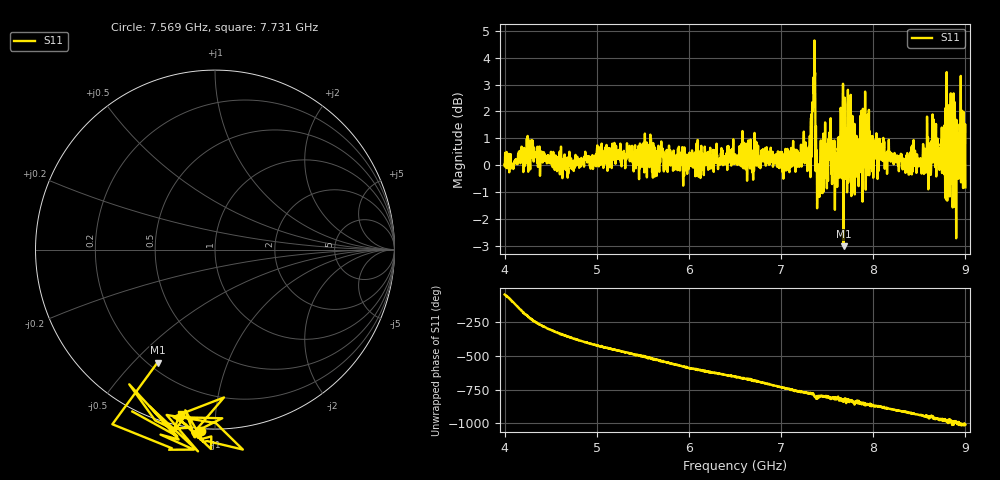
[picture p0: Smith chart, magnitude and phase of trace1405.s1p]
! Created with skrf 1.8.0 (http://scikit-rf.org).
# Hz S RI R 50.0
!freq ReS11 ImS11
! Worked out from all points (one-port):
!   1601 points, 4 GHz to 9 GHz, reference 50 ohm
!   lowest |S11| = -3.0 dB at 7.678 GHz (marker M1), VSWR 5.80, Z = 11.7 - j29.4 ohm
!   |S11| at or under -10 dB: nowhere
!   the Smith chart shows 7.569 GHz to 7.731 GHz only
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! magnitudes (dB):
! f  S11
! 4 GHz  0.0
! 4.266 GHz  0.0
! 4.625 GHz  -0.5
! 5.25 GHz  0.4
! 5.875 GHz  -0.2
! 6.5 GHz  0.0
! 7.125 GHz  0.2
! 7.294 GHz  -0.2
! 7.309 GHz  0.6
! 7.347 GHz  2.2
! 7.362 GHz  4.6
! 7.397 GHz  -0.7
! 7.412 GHz  -0.5
! 7.525 GHz  1.2
! 7.606 GHz  0.4
! 7.65 GHz  1.9
! 7.678 GHz  -3.0
! 7.75 GHz  0.5
! 7.788 GHz  -0.7
! 7.891 GHz  0.6
! 8.375 GHz  0.1
! 8.612 GHz  0.2
! 8.656 GHz  1.7
! 8.794 GHz  2.0
! 8.819 GHz  -0.6
! 8.919 GHz  -0.3
! 8.959 GHz  2.0
! 9 GHz  -0.8
